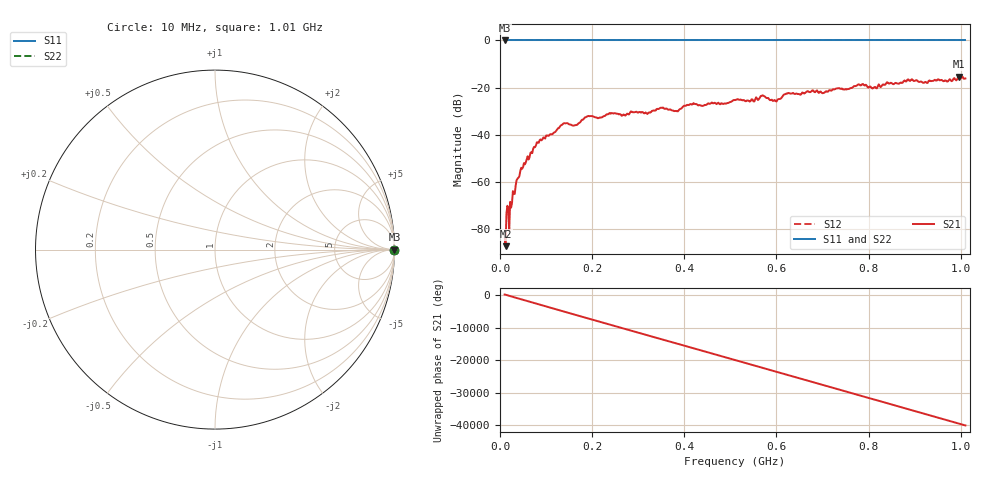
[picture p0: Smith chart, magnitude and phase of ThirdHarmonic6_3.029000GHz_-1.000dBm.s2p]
! 8/17/2025 8:44:26 AM
! C:\ANRITSUVNA\TEMP\TEMP.S2P
! CHANNEL.1
! TR.MEASUREMENT
! RAW.DATA
! RF.CORRECTION.OFF
! AVERAGING.OFF
! IF.BANDWIDTH: 5KHZ
! SWEEPTYPE:  FREQ.SWEEP(Linear)
! Reference Plane Port Info
! PORT:  PORT1  PORT2
! DISTANCE:  0  m  0  m
! TIME:  0  s  0  s
! PHASE.OFFSET:  0  deg.  0  deg.
! LOSS:  0  dB  0  dB
! REF.LOSS:  0  dB  0  dB
! REF.FREQ:  0  Hz  0  Hz
! Power Info
! POWER:  -20  dBm  -20  dBm
! EFF.POWER:  -20  dBm  -20  dBm
! SOURCE.ATTEN:  0  dB  0  dB
! TEST.ATTEN:  0  dB  0  dB
# GHZ S RI R 50.0
! FREQ.GHZ  S11RE  S11IM  S21RE  S21IM  S12RE  S12IM  S22RE  S22IM
!; PortSelection: Port_12
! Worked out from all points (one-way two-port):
!   501 points, 10 MHz to 1.01 GHz, reference 50 ohm
!   highest |S21| = -15.34 dB at 996 MHz (marker M1); lowest = -87.3 dB at 12 MHz (marker M2)
!   lowest |S11| = 0.0 dB at 10 MHz (marker M3)
!   |S11| at or under -10 dB: nowhere
!   |S22| runs from 0.0 to 0.0 dB; largest |S21 - S12| = 1.2
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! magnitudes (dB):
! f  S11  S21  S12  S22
! 10 MHz  0.0  -82.2  0.0  0.0
! 12 MHz  0.0  -87.3  0.0  0.0
! 22 MHz  0.0  -68.5  0.0  0.0
! 26 MHz  0.0  -69.0  0.0  0.0
! 42 MHz  0.0  -57.6  0.0  0.0
! 78 MHz  0.0  -44.5  0.0  0.0
! 136 MHz  0.0  -35.6  0.0  0.0
! 162 MHz  0.0  -36.0  0.0  0.0
! 178 MHz  0.0  -33.6  0.0  0.0
! 344 MHz  0.0  -29.1  0.0  0.0
! 382 MHz  0.0  -29.9  0.0  0.0
! 416 MHz  0.0  -27.2  0.0  0.0
! 510 MHz  0.0  -25.3  0.0  0.0
! 570 MHz  0.0  -23.3  0.0  0.0
! 596 MHz  0.0  -25.2  0.0  0.0
! 622 MHz  0.0  -22.5  0.0  0.0
! 678 MHz  0.0  -21.2  0.0  0.0
! 784 MHz  0.0  -19.0  0.0  0.0
! 814 MHz  0.0  -19.7  0.0  0.0
! 844 MHz  0.0  -18.3  0.0  0.0
! 996 MHz  0.0  -15.3  0.0  0.0
! 1.01 GHz  0.0  -16.1  0.0  0.0
